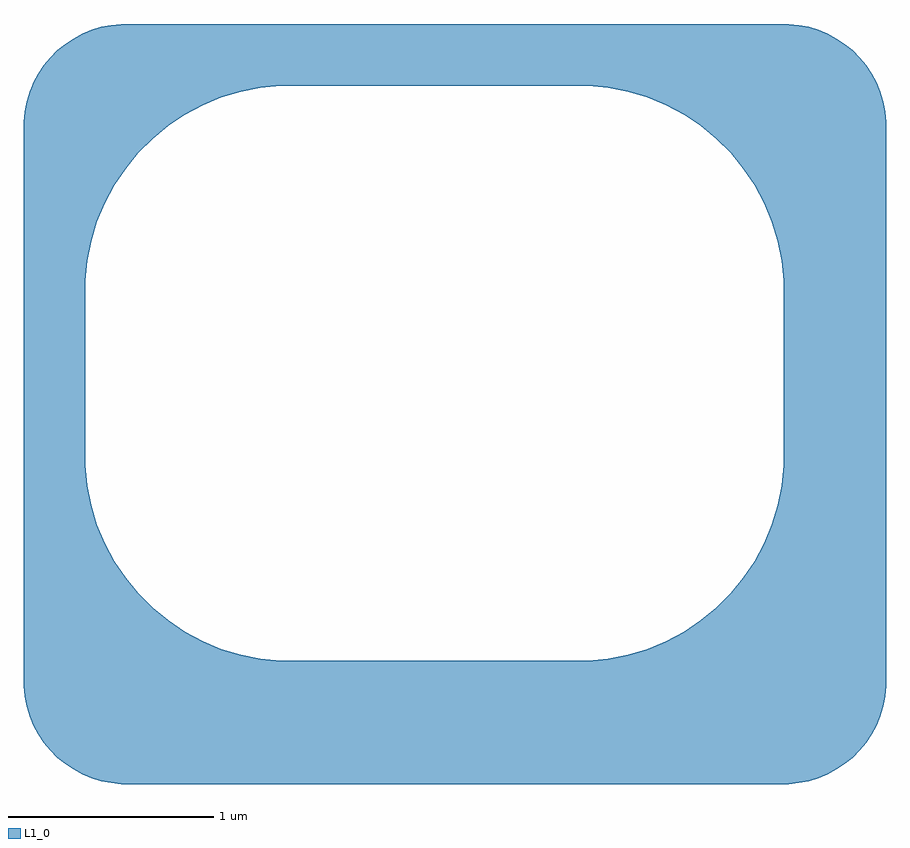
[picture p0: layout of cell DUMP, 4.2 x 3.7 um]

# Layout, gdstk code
import gdstk
lib = gdstk.Library(unit=1e-6, precision=1e-09)
def P(c, l, *ps):  # polygons
    for p in ps: c.add(gdstk.Polygon(p, *l))
L1_0 = (1, 0)
L10_0 = (10, 0)

dump = lib.new_cell('DUMP')
P(dump, L1_0, [(1.836,-0.223),(1.6,-0.149),(1.6,0.749),(1.845,0.823),(2.1,0.838),(2.1,0.15)],
  [(-0.813,-1.7),(-1.041,-1.314),(-0.849,-1.1),(0.649,-1.1),(0.856,-1.387),(0.813,-1.7),(0,-1.7)],
  [(-2.1,-0.194),(-2.1,0.15),(-2.1,0.838),(-1.8,0.749),(-1.8,-0.149)],
  [(-0.849,1.7),(-1.036,1.886),(-0.813,2),(0,2),(0.813,2),(0.649,1.7)],
  [(2.1,0.838),(1.784,1.058),(1.692,1.282),(1.651,1.61),(1.629,1.804),(1.639,1.902),(1.673,1.995),(1.722,1.986),(1.769,1.971),(1.814,1.953),(1.857,1.929),(1.898,1.902),(1.936,1.871),(1.971,1.836),(2.002,1.798),(2.029,1.757),(2.053,1.714),(2.071,1.669),(2.086,1.622),(2.095,1.573),(2.1,1.525)],
  [(1.543,1.037),(1.505,1.128),(1.692,1.282),(1.784,1.058)],
  [(1.571,0.943),(1.543,1.037),(1.784,1.058)],
  [(1.629,1.804),(1.422,1.921),(1.639,1.902)],
  [(1.342,1.372),(1.272,1.442),(1.383,1.656),(1.523,1.456)],
  [(1.115,1.559),(1.028,1.605),(1.175,1.778)],
  [(1.639,1.902),(1.422,1.921),(1.219,2),(1.625,2),(1.673,1.995)],
  [(1.505,1.128),(1.459,1.215),(1.692,1.282)],
  [(1.459,1.215),(1.404,1.296),(1.523,1.456),(1.651,1.61),(1.692,1.282)],
  [(0.747,1.69),(0.649,1.7),(0.813,2),(0.946,1.847)],
  [(1.175,1.778),(0.946,1.847),(0.813,2),(1.219,2)],
  [(1.523,1.456),(1.383,1.656),(1.422,1.921),(1.629,1.804),(1.651,1.61)],
  [(1.196,1.504),(1.115,1.559),(1.175,1.778),(1.383,1.656)],
  [(1.028,1.605),(0.937,1.643),(0.946,1.847),(1.175,1.778)],
  [(1.6,0.749),(1.59,0.847),(1.845,0.823)],
  [(1.272,1.442),(1.196,1.504),(1.383,1.656)],
  [(1.845,0.823),(1.59,0.847),(1.571,0.943),(1.784,1.058),(2.1,0.838)],
  [(1.383,1.656),(1.175,1.778),(1.219,2),(1.422,1.921)],
  [(1.404,1.296),(1.342,1.372),(1.523,1.456)],
  [(0.937,1.643),(0.843,1.671),(0.946,1.847)],
  [(0.843,1.671),(0.747,1.69),(0.946,1.847)],
  [(-1.743,1.037),(-1.947,1.047),(-1.705,1.128)],
  [(-1.978,1.651),(-2.011,1.688),(-2.029,1.757),(-2.002,1.798),(-1.971,1.836),(-1.936,1.871),(-1.898,1.902),(-1.816,1.821),(-1.863,1.717)],
  [(-1.036,1.886),(-1.219,2),(-0.813,2)],
  [(-1.565,1.633),(-1.711,1.871),(-1.769,1.971),(-1.722,1.986),(-1.673,1.995),(-1.625,2),(-1.219,2),(-1.382,1.791)],
  [(-2.011,1.688),(-2.059,1.7),(-2.053,1.714),(-2.029,1.757)],
  [(-1.933,1.569),(-2.095,1.573),(-2.086,1.622),(-2.071,1.669),(-2.059,1.7),(-2.011,1.688),(-1.978,1.651)],
  [(-1.947,1.047),(-2.1,1.181),(-2.1,1.525),(-2.095,1.573),(-1.933,1.569),(-1.804,1.373),(-1.705,1.128)],
  [(-1.816,1.821),(-1.898,1.902),(-1.857,1.929),(-1.814,1.953),(-1.769,1.971),(-1.711,1.871)],
  [(-1.771,0.943),(-1.947,1.047),(-1.743,1.037)],
  [(-1.043,1.671),(-1.036,1.886),(-0.947,1.69)],
  [(-1.79,0.847),(-1.947,1.047),(-1.771,0.943)],
  [(-1.771,1.585),(-1.863,1.717),(-1.816,1.821),(-1.711,1.871),(-1.565,1.633)],
  [(-0.947,1.69),(-1.036,1.886),(-0.849,1.7)],
  [(-1.137,1.643),(-1.036,1.886),(-1.043,1.671)],
  [(-1.396,1.504),(-1.565,1.633),(-1.382,1.791),(-1.315,1.559)],
  [(-1.8,0.749),(-2.1,0.838),(-2.1,1.181),(-1.947,1.047),(-1.79,0.847)],
  [(-1.228,1.605),(-1.382,1.791),(-1.219,2),(-1.036,1.886),(-1.137,1.643)],
  [(-1.315,1.559),(-1.382,1.791),(-1.228,1.605)],
  [(-1.804,1.373),(-1.933,1.569),(-1.978,1.651),(-1.863,1.717),(-1.771,1.585)],
  [(-1.604,1.296),(-1.804,1.373),(-1.771,1.585),(-1.565,1.633),(-1.542,1.372)],
  [(-1.472,1.442),(-1.565,1.633),(-1.396,1.504)],
  [(-1.705,1.128),(-1.804,1.373),(-1.659,1.215)],
  [(-1.659,1.215),(-1.804,1.373),(-1.604,1.296)],
  [(-1.542,1.372),(-1.565,1.633),(-1.472,1.442)],
  [(-1.485,-1.121),(-1.396,-0.904),(-1.315,-0.959)],
  [(-1.625,-1.7),(-1.673,-1.695),(-1.722,-1.686),(-1.769,-1.671),(-1.814,-1.653),(-1.789,-1.557),(-1.74,-1.47),(-1.635,-1.561)],
  [(-1.857,-1.629),(-1.898,-1.602),(-1.936,-1.571),(-1.971,-1.536),(-1.877,-1.428),(-1.74,-1.47),(-1.789,-1.557)],
  [(-1.971,-1.536),(-2.002,-1.498),(-2.029,-1.457),(-2.053,-1.414),(-2.071,-1.369),(-1.96,-1.351),(-1.877,-1.428)],
  [(-1.625,-1.7),(-1.635,-1.561),(-1.217,-1.482),(-0.813,-1.7)],
  [(-1.041,-1.314),(-0.947,-1.09),(-0.849,-1.1)],
  [(-1.217,-1.482),(-1.274,-1.244),(-1.137,-1.043),(-1.043,-1.071),(-1.041,-1.314)],
  [(-1.274,-1.244),(-1.485,-1.121),(-1.315,-0.959),(-1.228,-1.005)],
  [(-2.071,-1.369),(-2.086,-1.322),(-2.095,-1.273),(-1.979,-1.237),(-1.96,-1.351)],
  [(-1.647,-0.947),(-1.542,-0.772),(-1.472,-0.842)],
  [(-1.627,-1.308),(-1.858,-1.255),(-1.851,-0.961),(-1.647,-0.947),(-1.485,-1.121)],
  [(-1.795,-0.766),(-1.659,-0.615),(-1.604,-0.696)],
  [(-1.902,-0.557),(-2.1,-0.538),(-2.1,-0.194),(-1.79,-0.247),(-1.771,-0.343)],
  [(-0.813,-1.7),(-1.217,-1.482),(-1.041,-1.314)],
  [(-1.902,-0.557),(-1.771,-0.343),(-1.743,-0.437)],
  [(-1.795,-0.766),(-1.902,-0.557),(-1.705,-0.528),(-1.659,-0.615)],
  [(-1.851,-0.961),(-1.795,-0.766),(-1.604,-0.696),(-1.542,-0.772),(-1.647,-0.947)],
  [(-2.095,-1.273),(-2.1,-1.225),(-2.1,-0.538),(-1.902,-0.557),(-1.795,-0.766),(-1.851,-0.961),(-1.979,-1.237)],
  [(-1.79,-0.247),(-2.1,-0.194),(-1.8,-0.149)],
  [(-1.041,-1.314),(-1.043,-1.071),(-0.947,-1.09)],
  [(-1.635,-1.561),(-1.74,-1.47),(-1.627,-1.308),(-1.485,-1.121),(-1.274,-1.244),(-1.217,-1.482)],
  [(-1.74,-1.47),(-1.877,-1.428),(-1.96,-1.351),(-1.979,-1.237),(-1.858,-1.255),(-1.627,-1.308)],
  [(-1.274,-1.244),(-1.228,-1.005),(-1.137,-1.043)],
  [(-1.814,-1.653),(-1.857,-1.629),(-1.789,-1.557)],
  [(-1.485,-1.121),(-1.647,-0.947),(-1.472,-0.842),(-1.396,-0.904)],
  [(-1.902,-0.557),(-1.743,-0.437),(-1.705,-0.528)],
  [(-1.858,-1.255),(-1.979,-1.237),(-1.851,-0.961)],
  [(0.856,-1.387),(0.649,-1.1),(0.747,-1.09)],
  [(1.825,-0.47),(1.571,-0.343),(1.59,-0.247),(1.836,-0.223)],
  [(1.511,-1.011),(1.272,-0.842),(1.342,-0.772)],
  [(1.59,-0.247),(1.6,-0.149),(1.836,-0.223)],
  [(2.095,-1.273),(2.002,-1.239),(2.1,-1.225)],
  [(1.293,-1.135),(1.115,-0.959),(1.196,-0.904)],
  [(1.708,-1.227),(1.293,-1.135),(1.196,-0.904),(1.272,-0.842),(1.511,-1.011)],
  [(1.635,-0.793),(1.459,-0.615),(1.505,-0.528)],
  [(1.754,-1.569),(1.665,-1.516),(1.708,-1.227),(1.808,-1.408),(1.851,-1.506)],
  [(1.625,-1.7),(1.665,-1.516),(1.754,-1.569),(1.814,-1.653),(1.769,-1.671),(1.722,-1.686),(1.673,-1.695)],
  [(0.856,-1.387),(0.747,-1.09),(0.843,-1.071),(1.075,-1.245)],
  [(1.904,-1.229),(1.708,-1.227),(1.511,-1.011),(1.635,-0.793),(2.001,-0.881)],
  [(1.814,-1.653),(1.754,-1.569),(1.851,-1.506),(1.898,-1.602),(1.857,-1.629)],
  [(1.075,-1.245),(1.028,-1.005),(1.115,-0.959),(1.293,-1.135)],
  [(1.898,-1.602),(1.851,-1.506),(1.808,-1.408),(1.922,-1.416),(2.002,-1.498),(1.971,-1.536),(1.936,-1.571)],
  [(0.813,-1.7),(0.856,-1.387),(1.075,-1.245),(1.293,-1.135),(1.708,-1.227),(1.665,-1.516),(1.625,-1.7)],
  [(1.635,-0.793),(1.404,-0.696),(1.459,-0.615)],
  [(1.635,-0.793),(1.505,-0.528),(1.543,-0.437),(1.825,-0.47)],
  [(2.001,-0.881),(1.635,-0.793),(1.825,-0.47),(2.1,-0.538)],
  [(1.075,-1.245),(0.843,-1.071),(0.937,-1.043)],
  [(1.075,-1.245),(0.937,-1.043),(1.028,-1.005)],
  [(1.825,-0.47),(1.543,-0.437),(1.571,-0.343)],
  [(2.1,-0.538),(1.825,-0.47),(1.836,-0.223),(2.1,0.15)],
  [(2.002,-1.498),(1.922,-1.416),(2.053,-1.414),(2.029,-1.457)],
  [(2.002,-1.239),(1.904,-1.229),(2.001,-0.881),(2.1,-0.538),(2.1,-1.225)],
  [(1.922,-1.416),(1.808,-1.408),(1.708,-1.227),(1.904,-1.229),(2.002,-1.239),(2.095,-1.273),(2.086,-1.322),(2.071,-1.369),(2.053,-1.414)],
  [(1.511,-1.011),(1.342,-0.772),(1.404,-0.696),(1.635,-0.793)])
dump.add(gdstk.FlexPath([(-0.849,-1.1),(0.649,-1.1)], 0, ends="flush", simple_path=True, layer=10, datatype=0))  # L10_0
dump.add(gdstk.FlexPath([(1.6,-0.149),(1.6,0.749)], 0, ends="flush", simple_path=True, layer=10, datatype=0))  # L10_0
dump.add(gdstk.FlexPath([(0.649,1.7),(-0.849,1.7)], 0, ends="flush", simple_path=True, layer=10, datatype=0))  # L10_0
dump.add(gdstk.FlexPath([(-1.8,0.749),(-1.8,-0.149)], 0, ends="flush", simple_path=True, layer=10, datatype=0))  # L10_0
dump.add(gdstk.FlexPath([(1.814,1.953),(1.769,1.971)], 0, ends="flush", simple_path=True, layer=10, datatype=0))  # L10_0
dump.add(gdstk.FlexPath([(1.857,1.929),(1.814,1.953)], 0, ends="flush", simple_path=True, layer=10, datatype=0))  # L10_0
dump.add(gdstk.FlexPath([(1.898,1.902),(1.857,1.929)], 0, ends="flush", simple_path=True, layer=10, datatype=0))  # L10_0
dump.add(gdstk.FlexPath([(1.936,1.871),(1.898,1.902)], 0, ends="flush", simple_path=True, layer=10, datatype=0))  # L10_0
dump.add(gdstk.FlexPath([(2.002,1.798),(1.971,1.836)], 0, ends="flush", simple_path=True, layer=10, datatype=0))  # L10_0
dump.add(gdstk.FlexPath([(1.971,1.836),(1.936,1.871)], 0, ends="flush", simple_path=True, layer=10, datatype=0))  # L10_0
dump.add(gdstk.FlexPath([(2.029,1.757),(2.002,1.798)], 0, ends="flush", simple_path=True, layer=10, datatype=0))  # L10_0
dump.add(gdstk.FlexPath([(2.053,1.714),(2.029,1.757)], 0, ends="flush", simple_path=True, layer=10, datatype=0))  # L10_0
dump.add(gdstk.FlexPath([(2.071,1.669),(2.053,1.714)], 0, ends="flush", simple_path=True, layer=10, datatype=0))  # L10_0
dump.add(gdstk.FlexPath([(2.086,1.622),(2.071,1.669)], 0, ends="flush", simple_path=True, layer=10, datatype=0))  # L10_0
dump.add(gdstk.FlexPath([(2.1,1.525),(2.095,1.573)], 0, ends="flush", simple_path=True, layer=10, datatype=0))  # L10_0
dump.add(gdstk.FlexPath([(2.095,1.573),(2.086,1.622)], 0, ends="flush", simple_path=True, layer=10, datatype=0))  # L10_0
dump.add(gdstk.FlexPath([(2.1,1.525),(2.1,0.838)], 0, ends="flush", simple_path=True, layer=10, datatype=0))  # L10_0
dump.add(gdstk.FlexPath([(1.673,1.995),(1.625,2)], 0, ends="flush", simple_path=True, layer=10, datatype=0))  # L10_0
dump.add(gdstk.FlexPath([(1.6,0.749),(1.59,0.847)], 0, ends="flush", simple_path=True, layer=10, datatype=0))  # L10_0
dump.add(gdstk.FlexPath([(1.59,0.847),(1.571,0.943)], 0, ends="flush", simple_path=True, layer=10, datatype=0))  # L10_0
dump.add(gdstk.FlexPath([(0,2),(0.813,2)], 0, ends="flush", simple_path=True, layer=10, datatype=0))  # L10_0
dump.add(gdstk.FlexPath([(1.571,0.943),(1.543,1.037)], 0, ends="flush", simple_path=True, layer=10, datatype=0))  # L10_0
dump.add(gdstk.FlexPath([(1.543,1.037),(1.505,1.128)], 0, ends="flush", simple_path=True, layer=10, datatype=0))  # L10_0
dump.add(gdstk.FlexPath([(1.505,1.128),(1.459,1.215)], 0, ends="flush", simple_path=True, layer=10, datatype=0))  # L10_0
dump.add(gdstk.FlexPath([(1.459,1.215),(1.404,1.296)], 0, ends="flush", simple_path=True, layer=10, datatype=0))  # L10_0
dump.add(gdstk.FlexPath([(1.404,1.296),(1.342,1.372)], 0, ends="flush", simple_path=True, layer=10, datatype=0))  # L10_0
dump.add(gdstk.FlexPath([(1.342,1.372),(1.272,1.442)], 0, ends="flush", simple_path=True, layer=10, datatype=0))  # L10_0
dump.add(gdstk.FlexPath([(1.272,1.442),(1.196,1.504)], 0, ends="flush", simple_path=True, layer=10, datatype=0))  # L10_0
dump.add(gdstk.FlexPath([(1.196,1.504),(1.115,1.559)], 0, ends="flush", simple_path=True, layer=10, datatype=0))  # L10_0
dump.add(gdstk.FlexPath([(1.115,1.559),(1.028,1.605)], 0, ends="flush", simple_path=True, layer=10, datatype=0))  # L10_0
dump.add(gdstk.FlexPath([(0.747,1.69),(0.649,1.7)], 0, ends="flush", simple_path=True, layer=10, datatype=0))  # L10_0
dump.add(gdstk.FlexPath([(1.028,1.605),(0.937,1.643)], 0, ends="flush", simple_path=True, layer=10, datatype=0))  # L10_0
dump.add(gdstk.FlexPath([(0.937,1.643),(0.843,1.671)], 0, ends="flush", simple_path=True, layer=10, datatype=0))  # L10_0
dump.add(gdstk.FlexPath([(0.843,1.671),(0.747,1.69)], 0, ends="flush", simple_path=True, layer=10, datatype=0))  # L10_0
dump.add(gdstk.FlexPath([(1.625,2),(1.219,2)], 0, ends="flush", simple_path=True, layer=10, datatype=0))  # L10_0
dump.add(gdstk.FlexPath([(1.769,1.971),(1.722,1.986)], 0, ends="flush", simple_path=True, layer=10, datatype=0))  # L10_0
dump.add(gdstk.FlexPath([(1.722,1.986),(1.673,1.995)], 0, ends="flush", simple_path=True, layer=10, datatype=0))  # L10_0
dump.add(gdstk.FlexPath([(2.1,0.15),(2.1,0.838)], 0, ends="flush", simple_path=True, layer=10, datatype=0))  # L10_0
dump.add(gdstk.FlexPath([(0.813,2),(1.219,2)], 0, ends="flush", simple_path=True, layer=10, datatype=0))  # L10_0
dump.add(gdstk.FlexPath([(-2.002,1.798),(-2.029,1.757)], 0, ends="flush", simple_path=True, layer=10, datatype=0))  # L10_0
dump.add(gdstk.FlexPath([(-2.029,1.757),(-2.053,1.714)], 0, ends="flush", simple_path=True, layer=10, datatype=0))  # L10_0
dump.add(gdstk.FlexPath([(-1.971,1.836),(-2.002,1.798)], 0, ends="flush", simple_path=True, layer=10, datatype=0))  # L10_0
dump.add(gdstk.FlexPath([(-1.898,1.902),(-1.936,1.871)], 0, ends="flush", simple_path=True, layer=10, datatype=0))  # L10_0
dump.add(gdstk.FlexPath([(-1.936,1.871),(-1.971,1.836)], 0, ends="flush", simple_path=True, layer=10, datatype=0))  # L10_0
dump.add(gdstk.FlexPath([(-1.857,1.929),(-1.898,1.902)], 0, ends="flush", simple_path=True, layer=10, datatype=0))  # L10_0
dump.add(gdstk.FlexPath([(-1.814,1.953),(-1.857,1.929)], 0, ends="flush", simple_path=True, layer=10, datatype=0))  # L10_0
dump.add(gdstk.FlexPath([(-1.769,1.971),(-1.814,1.953)], 0, ends="flush", simple_path=True, layer=10, datatype=0))  # L10_0
dump.add(gdstk.FlexPath([(-1.722,1.986),(-1.769,1.971)], 0, ends="flush", simple_path=True, layer=10, datatype=0))  # L10_0
dump.add(gdstk.FlexPath([(-1.625,2),(-1.673,1.995)], 0, ends="flush", simple_path=True, layer=10, datatype=0))  # L10_0
dump.add(gdstk.FlexPath([(-1.673,1.995),(-1.722,1.986)], 0, ends="flush", simple_path=True, layer=10, datatype=0))  # L10_0
dump.add(gdstk.FlexPath([(-2.095,1.573),(-2.1,1.525)], 0, ends="flush", simple_path=True, layer=10, datatype=0))  # L10_0
dump.add(gdstk.FlexPath([(-2.1,1.525),(-2.1,1.181)], 0, ends="flush", simple_path=True, layer=10, datatype=0))  # L10_0
dump.add(gdstk.FlexPath([(-2.071,1.669),(-2.086,1.622)], 0, ends="flush", simple_path=True, layer=10, datatype=0))  # L10_0
dump.add(gdstk.FlexPath([(-0.947,1.69),(-1.043,1.671)], 0, ends="flush", simple_path=True, layer=10, datatype=0))  # L10_0
dump.add(gdstk.FlexPath([(-0.849,1.7),(-0.947,1.69)], 0, ends="flush", simple_path=True, layer=10, datatype=0))  # L10_0
dump.add(gdstk.FlexPath([(-1.043,1.671),(-1.137,1.643)], 0, ends="flush", simple_path=True, layer=10, datatype=0))  # L10_0
dump.add(gdstk.FlexPath([(-1.137,1.643),(-1.228,1.605)], 0, ends="flush", simple_path=True, layer=10, datatype=0))  # L10_0
dump.add(gdstk.FlexPath([(-1.228,1.605),(-1.315,1.559)], 0, ends="flush", simple_path=True, layer=10, datatype=0))  # L10_0
dump.add(gdstk.FlexPath([(-1.315,1.559),(-1.396,1.504)], 0, ends="flush", simple_path=True, layer=10, datatype=0))  # L10_0
dump.add(gdstk.FlexPath([(-1.396,1.504),(-1.472,1.442)], 0, ends="flush", simple_path=True, layer=10, datatype=0))  # L10_0
dump.add(gdstk.FlexPath([(-1.472,1.442),(-1.542,1.372)], 0, ends="flush", simple_path=True, layer=10, datatype=0))  # L10_0
dump.add(gdstk.FlexPath([(-1.542,1.372),(-1.604,1.296)], 0, ends="flush", simple_path=True, layer=10, datatype=0))  # L10_0
dump.add(gdstk.FlexPath([(-1.604,1.296),(-1.659,1.215)], 0, ends="flush", simple_path=True, layer=10, datatype=0))  # L10_0
dump.add(gdstk.FlexPath([(-1.659,1.215),(-1.705,1.128)], 0, ends="flush", simple_path=True, layer=10, datatype=0))  # L10_0
dump.add(gdstk.FlexPath([(-1.705,1.128),(-1.743,1.037)], 0, ends="flush", simple_path=True, layer=10, datatype=0))  # L10_0
dump.add(gdstk.FlexPath([(-1.79,0.847),(-1.8,0.749)], 0, ends="flush", simple_path=True, layer=10, datatype=0))  # L10_0
dump.add(gdstk.FlexPath([(-1.743,1.037),(-1.771,0.943)], 0, ends="flush", simple_path=True, layer=10, datatype=0))  # L10_0
dump.add(gdstk.FlexPath([(-1.771,0.943),(-1.79,0.847)], 0, ends="flush", simple_path=True, layer=10, datatype=0))  # L10_0
dump.add(gdstk.FlexPath([(-2.086,1.622),(-2.095,1.573)], 0, ends="flush", simple_path=True, layer=10, datatype=0))  # L10_0
dump.add(gdstk.FlexPath([(0,2),(-0.813,2)], 0, ends="flush", simple_path=True, layer=10, datatype=0))  # L10_0
dump.add(gdstk.FlexPath([(-1.625,2),(-1.219,2)], 0, ends="flush", simple_path=True, layer=10, datatype=0))  # L10_0
dump.add(gdstk.FlexPath([(-2.059,1.7),(-2.071,1.669)], 0, ends="flush", simple_path=True, layer=10, datatype=0))  # L10_0
dump.add(gdstk.FlexPath([(-2.1,0.15),(-2.1,0.838)], 0, ends="flush", simple_path=True, layer=10, datatype=0))  # L10_0
dump.add(gdstk.FlexPath([(-0.813,2),(-1.219,2)], 0, ends="flush", simple_path=True, layer=10, datatype=0))  # L10_0
dump.add(gdstk.FlexPath([(-2.053,1.714),(-2.059,1.7)], 0, ends="flush", simple_path=True, layer=10, datatype=0))  # L10_0
dump.add(gdstk.FlexPath([(-2.1,0.838),(-2.1,1.181)], 0, ends="flush", simple_path=True, layer=10, datatype=0))  # L10_0
dump.add(gdstk.FlexPath([(-2.1,-1.225),(-2.095,-1.273)], 0, ends="flush", simple_path=True, layer=10, datatype=0))  # L10_0
dump.add(gdstk.FlexPath([(-2.1,-1.225),(-2.1,-0.538)], 0, ends="flush", simple_path=True, layer=10, datatype=0))  # L10_0
dump.add(gdstk.FlexPath([(-2.071,-1.369),(-2.053,-1.414)], 0, ends="flush", simple_path=True, layer=10, datatype=0))  # L10_0
dump.add(gdstk.FlexPath([(-2.095,-1.273),(-2.086,-1.322)], 0, ends="flush", simple_path=True, layer=10, datatype=0))  # L10_0
dump.add(gdstk.FlexPath([(-2.1,0.15),(-2.1,-0.194)], 0, ends="flush", simple_path=True, layer=10, datatype=0))  # L10_0
dump.add(gdstk.FlexPath([(-1.625,-1.7),(-1.673,-1.695)], 0, ends="flush", simple_path=True, layer=10, datatype=0))  # L10_0
dump.add(gdstk.FlexPath([(-1.673,-1.695),(-1.722,-1.686)], 0, ends="flush", simple_path=True, layer=10, datatype=0))  # L10_0
dump.add(gdstk.FlexPath([(-1.814,-1.653),(-1.769,-1.671)], 0, ends="flush", simple_path=True, layer=10, datatype=0))  # L10_0
dump.add(gdstk.FlexPath([(-1.769,-1.671),(-1.722,-1.686)], 0, ends="flush", simple_path=True, layer=10, datatype=0))  # L10_0
dump.add(gdstk.FlexPath([(-1.898,-1.602),(-1.857,-1.629)], 0, ends="flush", simple_path=True, layer=10, datatype=0))  # L10_0
dump.add(gdstk.FlexPath([(-1.857,-1.629),(-1.814,-1.653)], 0, ends="flush", simple_path=True, layer=10, datatype=0))  # L10_0
dump.add(gdstk.FlexPath([(-1.8,-0.149),(-1.79,-0.247)], 0, ends="flush", simple_path=True, layer=10, datatype=0))  # L10_0
dump.add(gdstk.FlexPath([(-1.79,-0.247),(-1.771,-0.343)], 0, ends="flush", simple_path=True, layer=10, datatype=0))  # L10_0
dump.add(gdstk.FlexPath([(-1.771,-0.343),(-1.743,-0.437)], 0, ends="flush", simple_path=True, layer=10, datatype=0))  # L10_0
dump.add(gdstk.FlexPath([(-1.625,-1.7),(-0.813,-1.7)], 0, ends="flush", simple_path=True, layer=10, datatype=0))  # L10_0
dump.add(gdstk.FlexPath([(-1.743,-0.437),(-1.705,-0.528)], 0, ends="flush", simple_path=True, layer=10, datatype=0))  # L10_0
dump.add(gdstk.FlexPath([(-1.705,-0.528),(-1.659,-0.615)], 0, ends="flush", simple_path=True, layer=10, datatype=0))  # L10_0
dump.add(gdstk.FlexPath([(-1.659,-0.615),(-1.604,-0.696)], 0, ends="flush", simple_path=True, layer=10, datatype=0))  # L10_0
dump.add(gdstk.FlexPath([(-1.604,-0.696),(-1.542,-0.772)], 0, ends="flush", simple_path=True, layer=10, datatype=0))  # L10_0
dump.add(gdstk.FlexPath([(-1.542,-0.772),(-1.472,-0.842)], 0, ends="flush", simple_path=True, layer=10, datatype=0))  # L10_0
dump.add(gdstk.FlexPath([(-1.472,-0.842),(-1.396,-0.904)], 0, ends="flush", simple_path=True, layer=10, datatype=0))  # L10_0
dump.add(gdstk.FlexPath([(-1.396,-0.904),(-1.315,-0.959)], 0, ends="flush", simple_path=True, layer=10, datatype=0))  # L10_0
dump.add(gdstk.FlexPath([(-1.315,-0.959),(-1.228,-1.005)], 0, ends="flush", simple_path=True, layer=10, datatype=0))  # L10_0
dump.add(gdstk.FlexPath([(-1.228,-1.005),(-1.137,-1.043)], 0, ends="flush", simple_path=True, layer=10, datatype=0))  # L10_0
dump.add(gdstk.FlexPath([(-1.137,-1.043),(-1.043,-1.071)], 0, ends="flush", simple_path=True, layer=10, datatype=0))  # L10_0
dump.add(gdstk.FlexPath([(-1.043,-1.071),(-0.947,-1.09)], 0, ends="flush", simple_path=True, layer=10, datatype=0))  # L10_0
dump.add(gdstk.FlexPath([(-0.849,-1.1),(-0.947,-1.09)], 0, ends="flush", simple_path=True, layer=10, datatype=0))  # L10_0
dump.add(gdstk.FlexPath([(-2.002,-1.498),(-1.971,-1.536)], 0, ends="flush", simple_path=True, layer=10, datatype=0))  # L10_0
dump.add(gdstk.FlexPath([(-1.971,-1.536),(-1.936,-1.571)], 0, ends="flush", simple_path=True, layer=10, datatype=0))  # L10_0
dump.add(gdstk.FlexPath([(0,-1.7),(-0.813,-1.7)], 0, ends="flush", simple_path=True, layer=10, datatype=0))  # L10_0
dump.add(gdstk.FlexPath([(-2.1,-0.538),(-2.1,-0.194)], 0, ends="flush", simple_path=True, layer=10, datatype=0))  # L10_0
dump.add(gdstk.FlexPath([(-1.936,-1.571),(-1.898,-1.602)], 0, ends="flush", simple_path=True, layer=10, datatype=0))  # L10_0
dump.add(gdstk.FlexPath([(-2.029,-1.457),(-2.002,-1.498)], 0, ends="flush", simple_path=True, layer=10, datatype=0))  # L10_0
dump.add(gdstk.FlexPath([(-2.053,-1.414),(-2.029,-1.457)], 0, ends="flush", simple_path=True, layer=10, datatype=0))  # L10_0
dump.add(gdstk.FlexPath([(-2.086,-1.322),(-2.071,-1.369)], 0, ends="flush", simple_path=True, layer=10, datatype=0))  # L10_0
dump.add(gdstk.FlexPath([(2.1,-1.225),(2.1,-0.538)], 0, ends="flush", simple_path=True, layer=10, datatype=0))  # L10_0
dump.add(gdstk.FlexPath([(1.543,-0.437),(1.571,-0.343)], 0, ends="flush", simple_path=True, layer=10, datatype=0))  # L10_0
dump.add(gdstk.FlexPath([(1.59,-0.247),(1.6,-0.149)], 0, ends="flush", simple_path=True, layer=10, datatype=0))  # L10_0
dump.add(gdstk.FlexPath([(2.095,-1.273),(2.1,-1.225)], 0, ends="flush", simple_path=True, layer=10, datatype=0))  # L10_0
dump.add(gdstk.FlexPath([(2.071,-1.369),(2.086,-1.322)], 0, ends="flush", simple_path=True, layer=10, datatype=0))  # L10_0
dump.add(gdstk.FlexPath([(2.086,-1.322),(2.095,-1.273)], 0, ends="flush", simple_path=True, layer=10, datatype=0))  # L10_0
dump.add(gdstk.FlexPath([(2.053,-1.414),(2.071,-1.369)], 0, ends="flush", simple_path=True, layer=10, datatype=0))  # L10_0
dump.add(gdstk.FlexPath([(2.029,-1.457),(2.053,-1.414)], 0, ends="flush", simple_path=True, layer=10, datatype=0))  # L10_0
dump.add(gdstk.FlexPath([(2.002,-1.498),(2.029,-1.457)], 0, ends="flush", simple_path=True, layer=10, datatype=0))  # L10_0
dump.add(gdstk.FlexPath([(1.971,-1.536),(2.002,-1.498)], 0, ends="flush", simple_path=True, layer=10, datatype=0))  # L10_0
dump.add(gdstk.FlexPath([(1.898,-1.602),(1.936,-1.571)], 0, ends="flush", simple_path=True, layer=10, datatype=0))  # L10_0
dump.add(gdstk.FlexPath([(1.936,-1.571),(1.971,-1.536)], 0, ends="flush", simple_path=True, layer=10, datatype=0))  # L10_0
dump.add(gdstk.FlexPath([(1.857,-1.629),(1.898,-1.602)], 0, ends="flush", simple_path=True, layer=10, datatype=0))  # L10_0
dump.add(gdstk.FlexPath([(1.814,-1.653),(1.857,-1.629)], 0, ends="flush", simple_path=True, layer=10, datatype=0))  # L10_0
dump.add(gdstk.FlexPath([(1.769,-1.671),(1.814,-1.653)], 0, ends="flush", simple_path=True, layer=10, datatype=0))  # L10_0
dump.add(gdstk.FlexPath([(1.722,-1.686),(1.769,-1.671)], 0, ends="flush", simple_path=True, layer=10, datatype=0))  # L10_0
dump.add(gdstk.FlexPath([(1.625,-1.7),(1.673,-1.695)], 0, ends="flush", simple_path=True, layer=10, datatype=0))  # L10_0
dump.add(gdstk.FlexPath([(1.673,-1.695),(1.722,-1.686)], 0, ends="flush", simple_path=True, layer=10, datatype=0))  # L10_0
dump.add(gdstk.FlexPath([(0.649,-1.1),(0.747,-1.09)], 0, ends="flush", simple_path=True, layer=10, datatype=0))  # L10_0
dump.add(gdstk.FlexPath([(0.747,-1.09),(0.843,-1.071)], 0, ends="flush", simple_path=True, layer=10, datatype=0))  # L10_0
dump.add(gdstk.FlexPath([(0.843,-1.071),(0.937,-1.043)], 0, ends="flush", simple_path=True, layer=10, datatype=0))  # L10_0
dump.add(gdstk.FlexPath([(0.937,-1.043),(1.028,-1.005)], 0, ends="flush", simple_path=True, layer=10, datatype=0))  # L10_0
dump.add(gdstk.FlexPath([(1.028,-1.005),(1.115,-0.959)], 0, ends="flush", simple_path=True, layer=10, datatype=0))  # L10_0
dump.add(gdstk.FlexPath([(1.115,-0.959),(1.196,-0.904)], 0, ends="flush", simple_path=True, layer=10, datatype=0))  # L10_0
dump.add(gdstk.FlexPath([(0,-1.7),(0.813,-1.7)], 0, ends="flush", simple_path=True, layer=10, datatype=0))  # L10_0
dump.add(gdstk.FlexPath([(1.196,-0.904),(1.272,-0.842)], 0, ends="flush", simple_path=True, layer=10, datatype=0))  # L10_0
dump.add(gdstk.FlexPath([(1.272,-0.842),(1.342,-0.772)], 0, ends="flush", simple_path=True, layer=10, datatype=0))  # L10_0
dump.add(gdstk.FlexPath([(1.625,-1.7),(0.813,-1.7)], 0, ends="flush", simple_path=True, layer=10, datatype=0))  # L10_0
dump.add(gdstk.FlexPath([(1.342,-0.772),(1.404,-0.696)], 0, ends="flush", simple_path=True, layer=10, datatype=0))  # L10_0
dump.add(gdstk.FlexPath([(1.571,-0.343),(1.59,-0.247)], 0, ends="flush", simple_path=True, layer=10, datatype=0))  # L10_0
dump.add(gdstk.FlexPath([(1.404,-0.696),(1.459,-0.615)], 0, ends="flush", simple_path=True, layer=10, datatype=0))  # L10_0
dump.add(gdstk.FlexPath([(2.1,0.15),(2.1,-0.538)], 0, ends="flush", simple_path=True, layer=10, datatype=0))  # L10_0
dump.add(gdstk.FlexPath([(1.459,-0.615),(1.505,-0.528)], 0, ends="flush", simple_path=True, layer=10, datatype=0))  # L10_0
dump.add(gdstk.FlexPath([(1.505,-0.528),(1.543,-0.437)], 0, ends="flush", simple_path=True, layer=10, datatype=0))  # L10_0

lib.write_gds('DUMP.gds')
